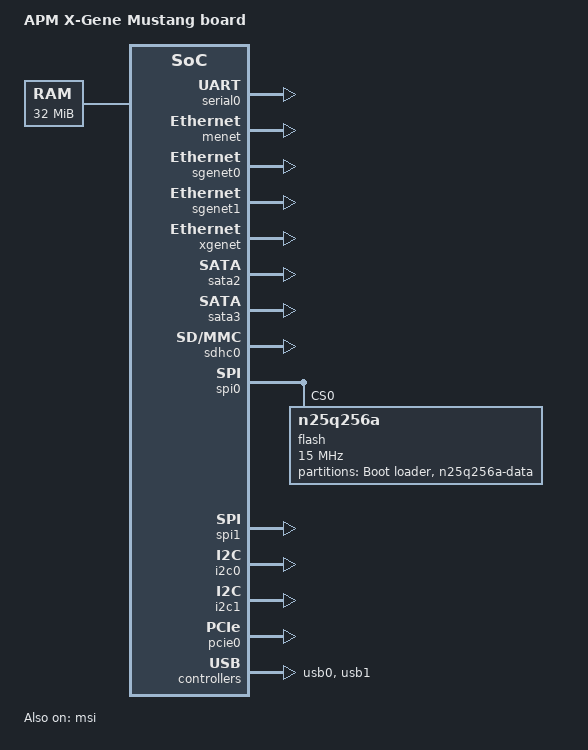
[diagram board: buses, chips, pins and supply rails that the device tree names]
/*
 * dts file for AppliedMicro (APM) Mustang Board
 *
 * Copyright (C) 2013, Applied Micro Circuits Corporation
 *
 * This program is free software; you can redistribute it and/or
 * modify it under the terms of the GNU General Public License as
 * published by the Free Software Foundation; either version 2 of
 * the License, or (at your option) any later version.
 */

/dts-v1/;

/include/ "apm-storm.dtsi"

/ {
	model = "APM X-Gene Mustang board";
	compatible = "apm,mustang", "apm,xgene-storm";

	memreserve = <0x40 0x00000000 0x00 0x00010000>; /* SMP trampoline */

	memory {
		#address-cells = <2>;
		#size-cells = <2>;
		device_type = "memory";
		reg = <0x00 0x00000000 0x00 0x02000000>;
	};

	chosen {
		linux,stdout-path = "/soc/serial@1c020000";
	};
};

/*
 * Board-specific peripheral configurations
 */
&serial0 {
	status = "ok";
};

&menet {
	status = "ok";
};

&sgenet0 {
	status = "ok";
};

&sgenet1 {
	status = "ok";
};

&xgenet {
	status = "ok";
};

&sata2 {
	status = "ok";
};

&sata3 {
	status = "ok";
};

&sdhc0 {
	status = "ok";
};

&spi0 {
	status = "ok";
	interrupt-parent = <&gic>;
	/* What for are 0x0 and 0x4 lines, I have no idea. */
	interrupts = <0x0 0x4a 0x4>;
	reg = <0x0 0x1c025000 0x0 0x1000
	       0x0 0x1f2ac000 0x0 0x100>;

	flash: n25q256a@0 {
	status = "ok";
	cell-index = <0>;
	#address-cells = <1>;
	#size-cells = <1>;
		compatible = "n25q256a";
		reg = <0>;
		spi-max-frequency = <15000000>;
		spi-cpha;
		spi-cpol;

		partition@0x00000000 {
			label =	"Boot loader";
			reg = <0x00000000 0x01000000>;
		};
		partition@0x01000000 {
			label = "n25q256a-data";
			reg = <0x01000000 0x01000000>;
		};
	};
};

&spi1 {
	status = "ok";
	interrupt-parent = <&gic>;
	interrupts = <0x0 0x4b 0x4>;
	reg = <0x0 0x1c026000 0x0 0x1000
	       0x0 0x1f2ac000 0x0 0x100>;
};

&i2c0 {
	status = "ok";
};

&i2c1 {
	status = "ok";
};

&dwgpio {
	status = "ok";
};

&pcie0clk {
	status = "ok";
};

&pcie0 {
	status = "ok";
};

&usb0 {
	status = "okay";
};

&usb1 {
	status = "okay";
};

&msi {
	status = "okay";
};
